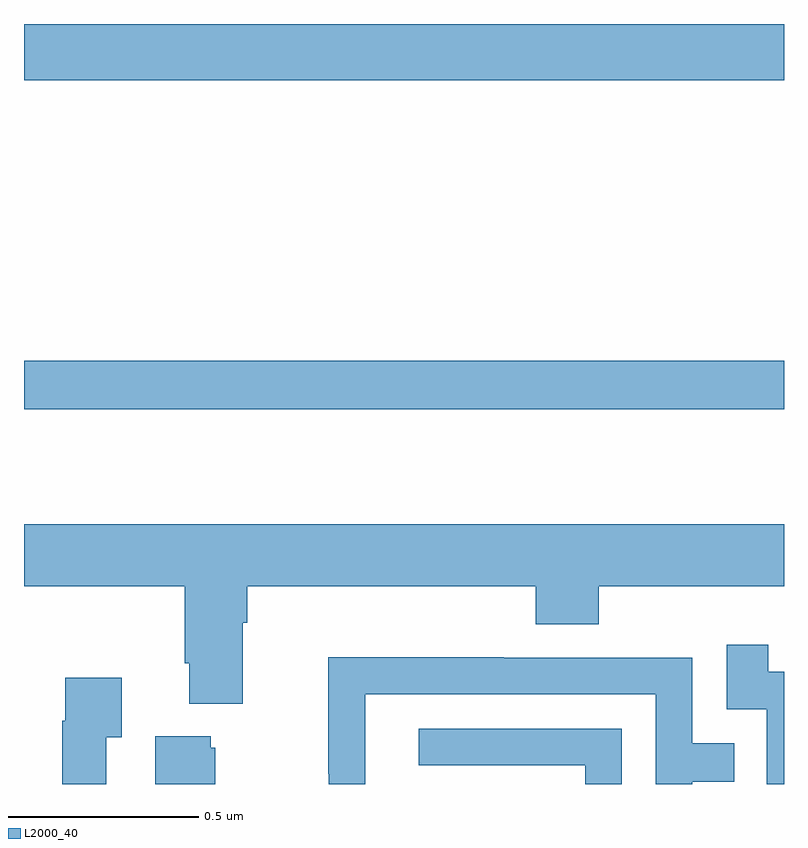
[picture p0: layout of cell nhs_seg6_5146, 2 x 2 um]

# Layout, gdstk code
import gdstk
lib = gdstk.Library(unit=1e-6, precision=1e-09)
def R(c, l, rs):  # rectangles x0, y0, x1, y1
    for r in rs: c.add(gdstk.rectangle(r[:2], r[2:], *l))
def P(c, l, *ps):  # polygons
    for p in ps: c.add(gdstk.Polygon(p, *l))
L2000_40 = (2000, 40)

nhs_seg6_5146 = lib.new_cell('nhs_seg6_5146')
R(nhs_seg6_5146, L2000_40, [(179,930.486,181,930.614), (179,931.352,181,931.5)])
P(nhs_seg6_5146, L2000_40, [(179.575,929.924),(179.588,929.924),(179.588,930.02),(180.347,930.02),(180.347,929.921),(180.512,929.921),(180.512,930.02),(181,930.02),(181,930.184),(179,930.184),(179,930.02),(179.423,930.02),(179.423,929.818),(179.435,929.818),(179.435,929.711),(179.575,929.711)],
  [(181,929.796),(180.958,929.796),(180.958,929.866),(180.849,929.866),(180.849,929.697),(180.954,929.697),(180.954,929.5),(181,929.5)],
  [(179.898,929.736),(180.663,929.736),(180.663,929.5),(180.759,929.5),(180.759,929.506),(180.869,929.506),(180.869,929.607),(180.759,929.607),(180.759,929.832),(180.263,929.832),(180.263,929.834),(179.8,929.834),(179.8,929.527),(179.802,929.527),(179.802,929.5),(179.898,929.5)],
  [(179.217,929.623),(179.257,929.623),(179.257,929.779),(179.109,929.779),(179.109,929.666),(179.101,929.666),(179.101,929.5),(179.217,929.5)],
  [(180.573,929.646),(180.039,929.646),(180.039,929.55),(180.477,929.55),(180.477,929.5),(180.573,929.5)],
  [(179.503,929.595),(179.492,929.595),(179.492,929.626),(179.345,929.626),(179.345,929.5),(179.503,929.5)])

lib.write_gds('nhs_seg6_5146.gds')
